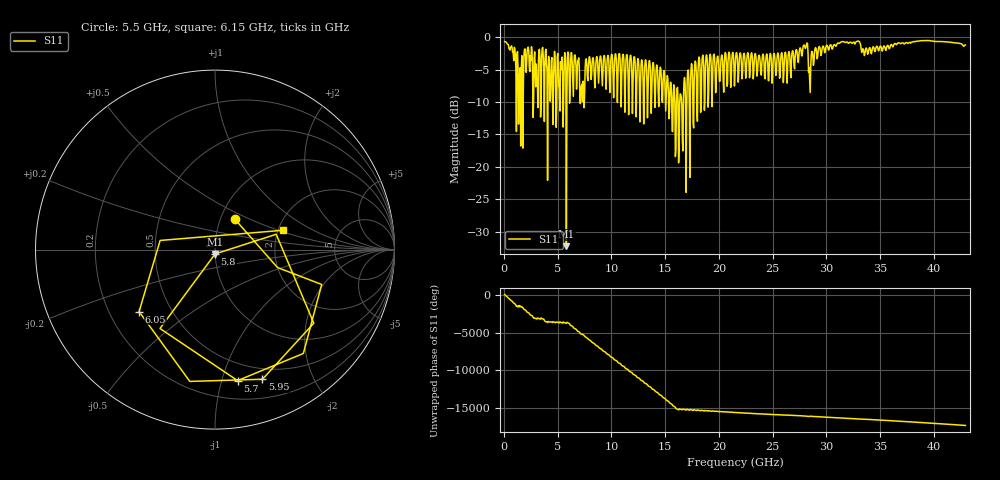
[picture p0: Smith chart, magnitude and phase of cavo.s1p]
! Rohde & Schwarz Vector Network Analyzer
! Rohde-Schwarz,ZNA43-4Port,1332450044102361,3.10
! Port Assignments:
! Nominal Port -> Actual Test Port
!  1 -> 1
! Created: GMT 2026-06-02 10:20:07
# Hz S RI R 50
! freq[Hz]  S11[Re]  S11[Im]
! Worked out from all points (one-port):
!   859 points, 50 MHz to 42.95 GHz, reference 50 ohm
!   lowest |S11| = -32.3 dB at 5.8 GHz (marker M1), VSWR 1.05, Z = 50 - j2.44 ohm
!   |S11| at or under -10 dB: 15.9 GHz to 16.05 GHz (157.8 MHz wide, 0.988 % of centre); 16.2 GHz to 16.35 GHz (153.7 MHz wide, 0.944 % of centre); 16.53 GHz to 16.7 GHz (168.4 MHz wide, 1.01 % of centre)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
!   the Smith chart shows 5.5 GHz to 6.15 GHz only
!   S11 on the Smith chart (normalised r, x): 5.5 GHz: 1.17, +0.41; 5.7 GHz: 0.35, -1.13; 5.8 GHz: 1.00, -0.05; 5.95 GHz: 0.38, -1.36; 6.05 GHz: 0.33, -0.32; 6.15 GHz: 2.11, +0.54
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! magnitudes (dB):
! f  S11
! 50 MHz  -0.7
! 850 MHz  -2.4
! 1.55 GHz  -16.8
! 2.1 GHz  -4.0
! 2.9 GHz  -4.8
! 3.7 GHz  -5.1
! 4.15 GHz  -3.0
! 5.45 GHz  -5.9
! 5.5 GHz  -13.9
! 5.7 GHz  -2.6
! 5.8 GHz  -32.3
! 5.95 GHz  -2.3
! 6.05 GHz  -5.3
! 6.15 GHz  -8.1
! 6.75 GHz  -8.0
! 7.25 GHz  -7.2
! 7.8 GHz  -6.7
! 10.8 GHz  -3.4
! 14.7 GHz  -9.7
! 16.15 GHz  -7.7
! 16.95 GHz  -23.9
! 17.1 GHz  -5.1
! 18 GHz  -13.0
! 21.5 GHz  -5.8
! 26.9 GHz  -2.2
! 32.25 GHz  -0.8
! 37.6 GHz  -1.0
! 42.95 GHz  -1.2
